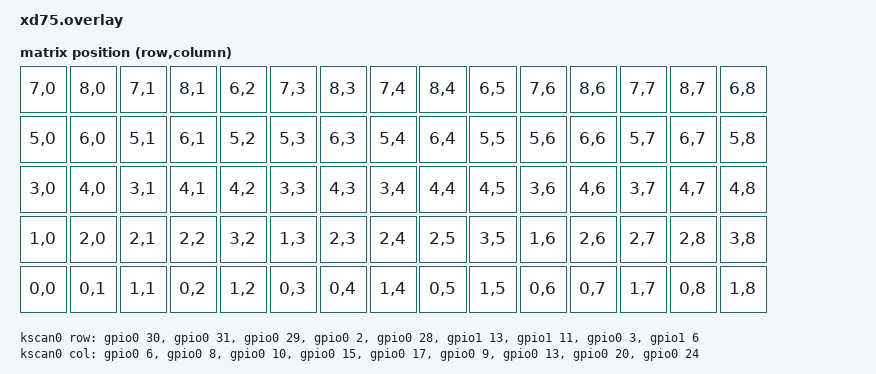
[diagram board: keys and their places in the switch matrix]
/*
 * Copyright (c) 2020 The ZMK Contributors
 *
 * SPDX-License-Identifier: MIT
 */

#include <dt-bindings/zmk/matrix_transform.h>

/ {
	chosen {
		zmk,kscan = &kscan0;
		zmk,matrix_transform = &default_transform;
	};

	kscan0: kscan {
		compatible = "zmk,kscan-gpio-matrix";
		label = "KSCAN";

		diode-direction = "col2row";
		row-gpios
			= <&gpio0 30 (GPIO_ACTIVE_HIGH | GPIO_PULL_DOWN)>
			, <&gpio0 31 (GPIO_ACTIVE_HIGH | GPIO_PULL_DOWN)>
			, <&gpio0 29 (GPIO_ACTIVE_HIGH | GPIO_PULL_DOWN)>
			, <&gpio0 2  (GPIO_ACTIVE_HIGH | GPIO_PULL_DOWN)>
			, <&gpio0 28 (GPIO_ACTIVE_HIGH | GPIO_PULL_DOWN)>
			, <&gpio1 13 (GPIO_ACTIVE_HIGH | GPIO_PULL_DOWN)>
			, <&gpio1 11 (GPIO_ACTIVE_HIGH | GPIO_PULL_DOWN)>
			, <&gpio0 3  (GPIO_ACTIVE_HIGH | GPIO_PULL_DOWN)>
			, <&gpio1 6  (GPIO_ACTIVE_HIGH | GPIO_PULL_DOWN)>
			;
		col-gpios
			= <&gpio0 6  GPIO_ACTIVE_HIGH>
			, <&gpio0 8  GPIO_ACTIVE_HIGH>
			, <&gpio0 10 GPIO_ACTIVE_HIGH>
			, <&gpio0 15 GPIO_ACTIVE_HIGH>
			, <&gpio0 17 GPIO_ACTIVE_HIGH>
			, <&gpio0 9  GPIO_ACTIVE_HIGH>
			, <&gpio0 13 GPIO_ACTIVE_HIGH>
			, <&gpio0 20 GPIO_ACTIVE_HIGH>
			, <&gpio0 24 GPIO_ACTIVE_HIGH>
			;
	};

	default_transform: keymap_transform_0 {
		compatible = "zmk,matrix-transform";
		columns = <9>;
		rows = <9>;
// | MX8  | MX9  | MX17 | MX18 | MX25 | MX33 | MX34 | MX42 | MX43 | MX50 | MX58 | MX59 | MX67 | MX68 | MX75 | 
// | MX6  | MX7  | MX15 | MX16 | MX24 | MX31 | MX32 | MX40 | MX41 | MX49 | MX56 | MX57 | MX65 | MX66 | MX74 | 
// | MX4  | MX5  | MX13 | MX14 | MX23 | MX29 | MX30 | MX38 | MX39 | MX48 | MX54 | MX55 | MX63 | MX64 | MX73 |
// | MX2  | MX3  | MX12 | MX21 | MX22 | MX27 | MX28 | MX37 | MX46 | MX47 | MX52 | MX53 | MX62 | MX71 | MX72 |
// | MX1  | MX10 | MX11 | MX19 | MX20 | MX26 | MX35 | MX36 | MX44 | MX45 | MX51 | MX60 | MX61 | MX69 | MX70 |
        map = <
RC(7,0) RC(8,0) RC(7,1) RC(8,1) RC(6,2) RC(7,3) RC(8,3) RC(7,4) RC(8,4) RC(6,5) RC(7,6) RC(8,6) RC(7,7) RC(8,7) RC(6,8) 
RC(5,0) RC(6,0) RC(5,1) RC(6,1) RC(5,2) RC(5,3) RC(6,3) RC(5,4) RC(6,4) RC(5,5) RC(5,6) RC(6,6) RC(5,7) RC(6,7) RC(5,8) 
RC(3,0) RC(4,0) RC(3,1) RC(4,1) RC(4,2) RC(3,3) RC(4,3) RC(3,4) RC(4,4) RC(4,5) RC(3,6) RC(4,6) RC(3,7) RC(4,7) RC(4,8) 
RC(1,0) RC(2,0) RC(2,1) RC(2,2) RC(3,2) RC(1,3) RC(2,3) RC(2,4) RC(2,5) RC(3,5) RC(1,6) RC(2,6) RC(2,7) RC(2,8) RC(3,8) 
RC(0,0) RC(0,1) RC(1,1) RC(0,2) RC(1,2) RC(0,3) RC(0,4) RC(1,4) RC(0,5) RC(1,5) RC(0,6) RC(0,7) RC(1,7) RC(0,8) RC(1,8) 
        >;
	};
};

